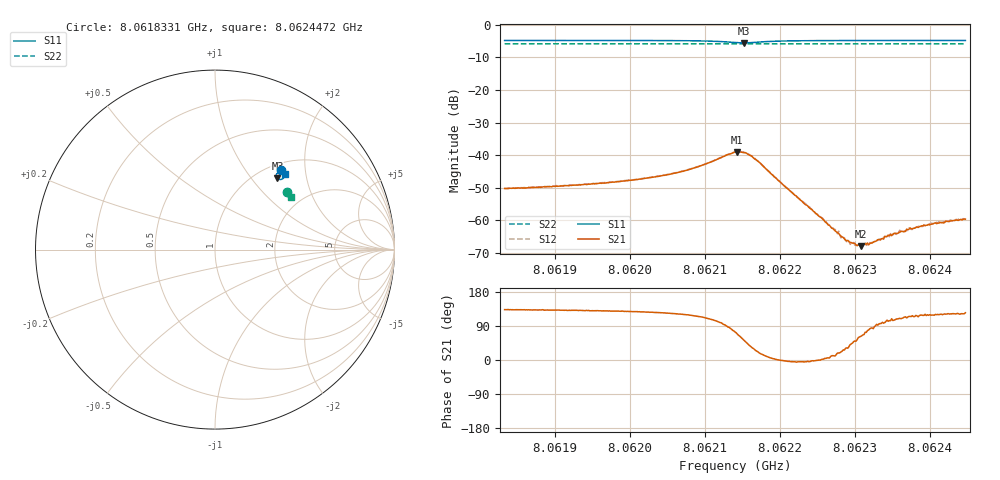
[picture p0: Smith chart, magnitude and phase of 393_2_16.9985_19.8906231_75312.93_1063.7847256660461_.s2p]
#  HZ  S  RI  R  50.00
! Rohde & Schwarz Vector Network Analyzer
! Rohde-Schwarz,ZNB20-2Port,1311601062101988,3.16
! Created: UTC 3/20/2024, 11:09:44 PM
! freq[Hz]  re:S11  im:S11  re:S21  im:S21  re:S12  im:S12  re:S22  im:S22
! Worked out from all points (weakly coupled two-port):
!   401 points, 8.0618331 GHz to 8.0624472 GHz, reference 50 ohm
!   highest |S21| = -38.99 dB at 8.0621432 GHz (marker M1); lowest = -67.9 dB at 8.0623075 GHz (marker M2)
!   lowest |S11| = -5.5 dB at 8.0621525 GHz (marker M3), VSWR 3.24, Z = 61.8 + j68.1 ohm
!   |S11| at or under -10 dB: nowhere
!   |S22| runs from -5.9 to -5.8 dB; largest |S21 - S12| = 0.0008
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8.06183311e9  0.3664 0.4445  -0.00209 0.00225  -0.00199 0.00241  0.3988 0.3216
8.06193598e9  0.3736 0.4382  -0.0023 0.00267  -0.00212 0.00282  0.4028 0.3166
8.06200353e9  0.3788 0.4324  -0.00253 0.00328  -0.00238 0.00342  0.4052 0.313
8.06203885e9  0.3819 0.4284  -0.00273 0.00388  -0.00252 0.00409  0.4067 0.3111
8.06206495e9  0.3843 0.4239  -0.00283 0.00467  -0.00258 0.00489  0.4075 0.3097
8.06208798e9  0.3861 0.4176  -0.00284 0.0058  -0.00253 0.00605  0.4084 0.3082
8.06214018e9  0.3651 0.3905  0.00309 0.0108  0.00383 0.0105  0.4088 0.3047
8.06214325e9  0.3607 0.3907  0.00411 0.0104  0.00472 0.0104  0.4088 0.3049
8.06215246e9  0.3478 0.3972  0.00678 0.0085  0.00738 0.00827  0.4085 0.3049
8.06216167e9  0.3418 0.4097  0.00806 0.00559  0.00838 0.00509  0.4088 0.3051
8.06217242e9  0.3437 0.423  0.00739 0.0025  0.00757 0.00201  0.4093 0.3051
8.06220466e9  0.3609 0.4354  0.00347 -0.000102  0.00352 -0.000306  0.4115 0.3039
8.06224304e9  0.3723 0.4345  0.00145 -4.93e-05  0.00145 -0.000177  0.4133 0.3018
8.0622845e9  0.379 0.4318  0.000486 0.000244  0.000514 0.000184  0.4148 0.2996
8.06229064e9  0.3797 0.4314  0.00042 0.000254  0.000421 0.000261  0.4151 0.2993
8.06230446e9  0.3813 0.4304  0.000215 0.00036  0.000258 0.000311  0.4156 0.2985
8.06230753e9  0.3817 0.4301  0.000187 0.000354  0.00024 0.000361  0.4157 0.2985
8.06231828e9  0.3827 0.4295  7.9e-05 0.000413  0.000118 0.000405  0.4162 0.2978
8.06234591e9  0.3852 0.4277  -0.000138 0.000564  -0.00012 0.000546  0.4171 0.2964
8.06237201e9  0.3874 0.4262  -0.000308 0.000661  -0.000263 0.000721  0.4179 0.2951
8.06240272e9  0.3896 0.4243  -0.000419 0.000767  -0.000389 0.000809  0.4191 0.2935
8.06244724e9  0.3928 0.4218  -0.000591 0.000856  -0.000526 0.00092  0.4207 0.2911
